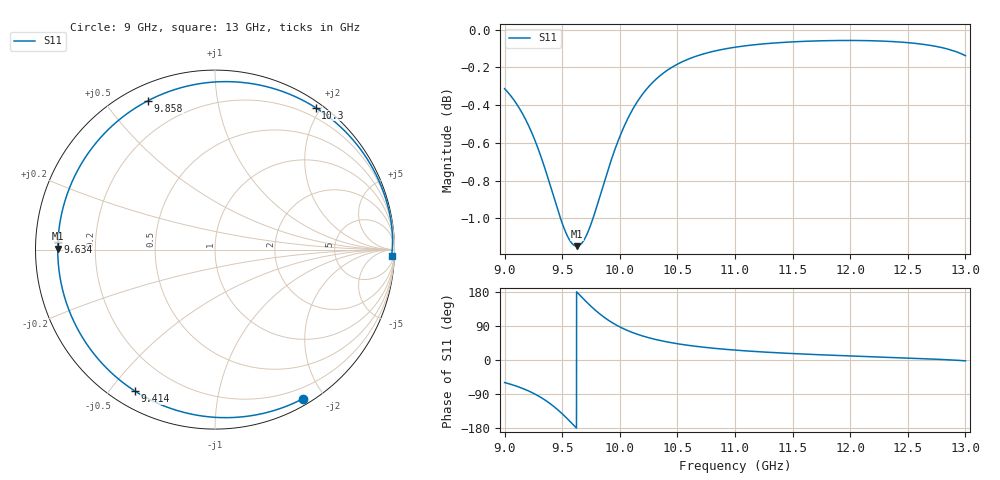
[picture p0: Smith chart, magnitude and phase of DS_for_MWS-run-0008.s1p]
! TOUCHSTONE file generated by CST DESIGN STUDIO
! Date and time: Tue Feb  4 13:34:41 2025
! Project name: C:\Work\MatlabApps\UnitCellOptimizationMatlab\CST\unitcell.cst
! Tree item: Tasks\Sweep1\SPara1\S-Parameters
! Header version: 2024
! Port assignment regex: !\s*Touchstone port\s*([0-9]+)\s*=\s*(CST MWS port|CST DES external port|CST DES block port)\s*(.+)\s* \(\"(.*)\"\)(\s*mode\s*([0-9]+))?.*
! Touchstone port assignment:
! Touchstone port 1 = CST DES external port 1 ("")
# GHz S MA R 50
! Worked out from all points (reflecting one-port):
!   4001 points, 9 GHz to 13 GHz, reference 50 ohm
!   lowest |S11| = -1.1 dB at 9.626 GHz (marker M1), VSWR 15.16, Z = 3.3 + j0.157 ohm
!   phase of S11 starts at -60 deg and turns -303 deg over the sweep
!   S11 on the Smith chart (normalised r, x): 9 GHz: 0.07, -1.75; 9.414 GHz: 0.07, -0.58; 9.634 GHz: 0.07, +0.03; 9.858 GHz: 0.07, +0.65; 10.3 GHz: 0.07, +1.93; 13 GHz: 19, -45
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9  0.9646 -59.5
9.057  0.96 -64.5
9.13  0.9529 -72.0
9.257  0.9357 -88.9
9.341  0.9205 -103.7
9.414  0.9056 -119.5
9.457  0.8967 -130.2
9.5  0.8886 -141.9
9.566  0.8793 -161.5
9.626  0.8762 179.6
9.634  0.8763 177.1
9.69  0.8796 159.5
9.753  0.8886 140.9
9.805  0.8987 126.9
9.858  0.9097 114.1
9.924  0.9232 100.4
10  0.9368 87.3
10.07  0.9472 77.4
10.142  0.9559 69.0
10.22  0.9633 61.4
10.304  0.9695 54.7
10.5  0.9791 42.9
10.72  0.9851 34.0
11  0.9892 26.1
11.5  0.9925 17.0
12  0.9933 10.7
12.5  0.992 5.2
13  0.9842 -2.2
